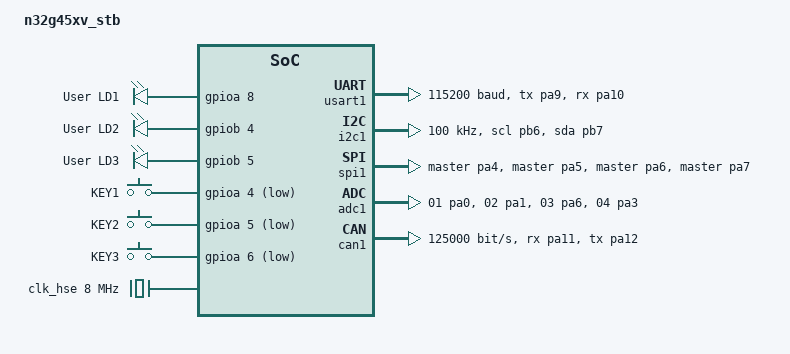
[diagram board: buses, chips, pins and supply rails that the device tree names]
/* SPDX-License-Identifier: Apache-2.0 */

/dts-v1/;
#include <nations/n32g45x/n32g45xV.dtsi>
#include <nations/n32g45x/n32g45.dtsi>
#include "n32g45xv_stb-pinctrl.dtsi"

#include <./../../include/zephyr/dt-bindings/i2c/i2c.h>


/ {
	model = "n32g45xv_stb";
	compatible = "n32g45";
    

	chosen {
		zephyr,console = &usart1;
		zephyr,shell-uart = &usart1;
		zephyr,sram = &sram0;
		zephyr,flash = &flash0;
	};


	leds {
		compatible = "gpio-leds";
		green_led: led_1 {
			gpios = <&gpioa 8 GPIO_ACTIVE_HIGH>;
			label = "User LD1";
		};
		blue_led: led_2 {
			gpios = <&gpiob 4 GPIO_ACTIVE_HIGH>;
			label = "User LD2";
		};
		red_led: led_3 {
			gpios = <&gpiob 5 GPIO_ACTIVE_HIGH>;
			label = "User LD3";
		};
	};


	gpio_keys {
		compatible = "gpio-keys";
		key1: key_1 {
			label = "KEY1";
			gpios = <&gpioa 4 (GPIO_ACTIVE_LOW | GPIO_PULL_UP)>;
		};
		key2: key_2 {
			label = "KEY2";
			gpios = <&gpioa 5 (GPIO_ACTIVE_LOW | GPIO_PULL_UP)>;
		};
		key3: key_3 {
			label = "KEY3";
			gpios = <&gpioa 6 (GPIO_ACTIVE_LOW | GPIO_PULL_UP)>;
		};
	};

	aliases {
		led0 = &green_led;
		led1 = &blue_led;
		led2 = &red_led;
		sw0  = &key1;
		sw1  = &key2;
		sw2  = &key3;
	};

};

&clk_lsi {
	status = "okay";
};

&clk_hse {
	clock-frequency = <DT_FREQ_M(8)>;
	status = "okay";
};

&pll {
	mul = <18>;
	clocks = <&clk_hse>;
	status = "okay";
};


&rcc {
	
	clock-frequency = <DT_FREQ_M(144)>;
	ahb-prescaler = <1>;
	apb1-prescaler = <2>;
	apb2-prescaler = <1>;
	
};

&usart1 {
	pinctrl-0 = <&usart1_tx_pa9 &usart1_rx_pa10>;
	pinctrl-names = "default";
	current-speed = <115200>;
	status = "okay";
};

&i2c1 {
	pinctrl-0 = <&i2c1_scl_pb6 &i2c1_sda_pb7>;
	pinctrl-names = "default";
    clock-frequency = <	I2C_BITRATE_STANDARD >;
    status = "okay";
};


&spi1 {
	pinctrl-0 = <&spi1_nss_master_pa4 
                 &spi1_sck_master_pa5
		         &spi1_miso_master_pa6 
                 &spi1_mosi_master_pa7>;
	pinctrl-names = "default";
	status = "okay";
};




&gpioa {
	status = "okay";
};

&gpiob {
	status = "okay";
};


&adc1 {
	pinctrl-0 = <&adc1_channel_01_pa0
                 &adc1_channel_02_pa1
                 &adc1_channel_03_pa6
                 &adc1_channel_04_pa3>;
	pinctrl-names = "default";
    status = "okay";
};


&can1 {
	pinctrl-0 = <&can1_rx_pa11  &can1_tx_pa12>;
	pinctrl-names = "default";
    bus-speed = <125000>;
    status = "okay";
};














